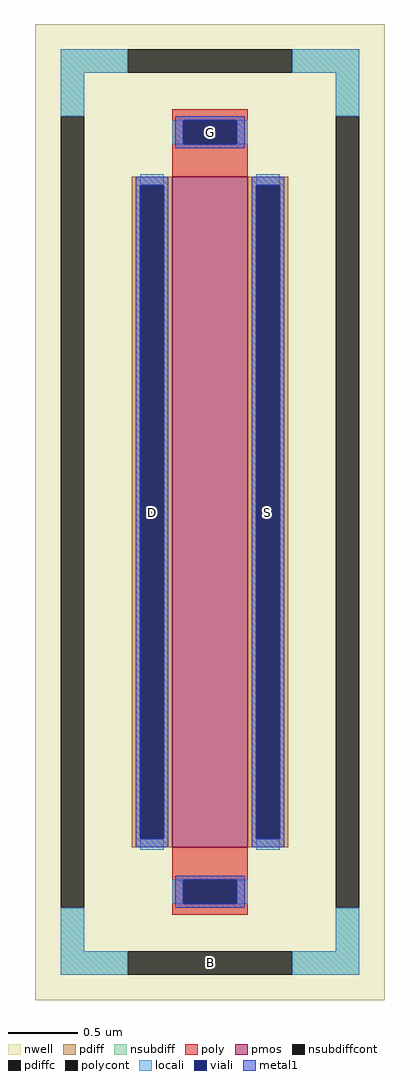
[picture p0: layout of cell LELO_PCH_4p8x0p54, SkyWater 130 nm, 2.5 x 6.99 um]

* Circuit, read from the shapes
.subckt LELO_PCH_4p8x0p54 D G S B
XM1 S G D B sky130_fd_pr__pfet_01v8 w=4.8 l=0.54
.ends

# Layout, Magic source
magic
tech sky130A
magscale 1 2
<< nwell >>
rect -250 -699 250 699
<< pmos >>
rect -54 -480 54 480
<< pdiff >>
rect -112 468 -54 480
rect -112 -468 -100 468
rect -66 -468 -54 468
rect -112 -480 -54 -468
rect 54 468 112 480
rect 54 -468 66 468
rect 100 -468 112 468
rect 54 -480 112 -468
<< pdiffc >>
rect -100 -468 -66 468
rect 66 -468 100 468
<< nsubdiff >>
rect -214 629 -118 663
rect 118 629 214 663
rect -214 567 -180 629
rect 180 567 214 629
rect -214 -629 -180 -567
rect 180 -629 214 -567
rect -214 -663 -118 -629
rect 118 -663 214 -629
<< nsubdiffcont >>
rect -118 629 118 663
rect -214 -567 -180 567
rect 180 -567 214 567
rect -118 -663 118 -629
<< poly >>
rect -54 561 54 577
rect -54 527 -38 561
rect 38 527 54 561
rect -54 480 54 527
rect -54 -527 54 -480
rect -54 -561 -38 -527
rect 38 -561 54 -527
rect -54 -577 54 -561
<< polycont >>
rect -38 527 38 561
rect -38 -561 38 -527
<< locali >>
rect -214 629 -118 663
rect 118 629 214 663
rect -214 567 -180 629
rect 180 567 214 629
rect -54 527 -38 561
rect 38 527 54 561
rect -100 468 -66 484
rect -100 -484 -66 -468
rect 66 468 100 484
rect 66 -484 100 -468
rect -54 -561 -38 -527
rect 38 -561 54 -527
rect -214 -629 -180 -567
rect 180 -629 214 -567
rect -214 -663 -118 -629
rect 118 -663 214 -629
<< viali >>
rect -38 527 38 561
rect -100 -468 -66 468
rect 66 -468 100 468
rect -38 -561 38 -527
<< metal1 >>
rect -50 561 50 567
rect -50 527 -38 561
rect 38 527 50 561
rect -50 521 50 527
rect -106 468 -60 480
rect -106 -468 -100 468
rect -66 -468 -60 468
rect -106 -480 -60 -468
rect 60 468 106 480
rect 60 -468 66 468
rect 100 -468 106 468
rect 60 -480 106 -468
rect -50 -527 50 -521
rect -50 -561 -38 -527
rect 38 -561 50 -527
rect -50 -567 50 -561
<< labels >>
flabel locali s -4 -650 4 -642 0 FreeSans 200 0 0 0 B
port 4 nsew
flabel metal1 s -87 -4 -79 4 0 FreeSans 200 0 0 0 D
port 1 nsew
flabel metal1 s 79 -4 87 4 0 FreeSans 200 0 0 0 S
port 3 nsew
flabel metal1 s -4 540 4 548 0 FreeSans 200 0 0 0 G
port 2 nsew
<< properties >>
string FIXED_BBOX -197 -646 197 646
<< end >>
